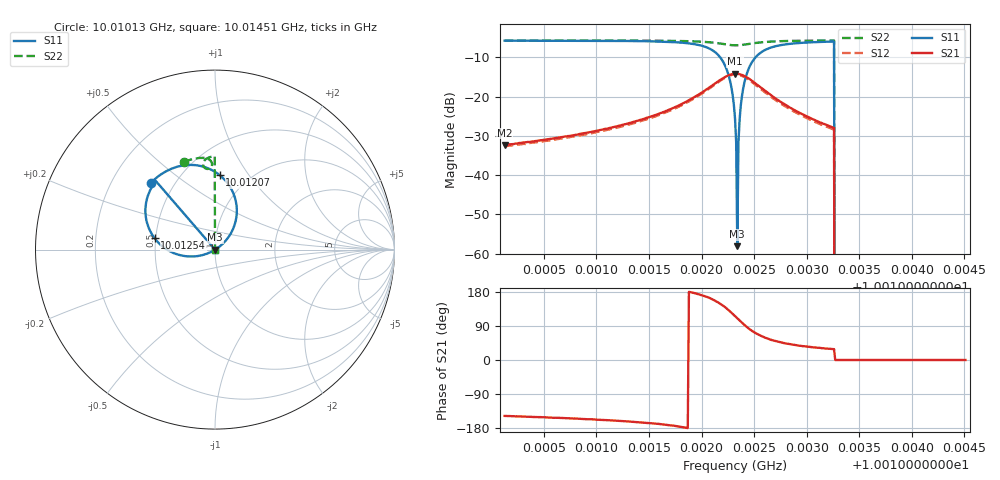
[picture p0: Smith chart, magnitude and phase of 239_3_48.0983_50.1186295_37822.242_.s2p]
#  HZ  S  RI  R  50.00
! Rohde & Schwarz Vector Network Analyzer
! Rohde-Schwarz,ZNB20-2Port,1311601062101988,3.16
! Created: UTC 12/23/2023, 3:58:34 AM
! freq[Hz]  re:S11  im:S11  re:S21  im:S21  re:S12  im:S12  re:S22  im:S22
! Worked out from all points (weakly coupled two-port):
!   401 points, 10.01013 GHz to 10.01451 GHz, reference 50 ohm
!   highest |S21| = -14.15 dB at 10.01232 GHz (marker M1); lowest = -32.3 dB at 10.01013 GHz (marker M2)
!   lowest |S11| = -58.1 dB at 10.01234 GHz (marker M3), VSWR 1.00, Z = 50.1 - j0.0315 ohm
!   |S11| at or under -10 dB: 10.01218 GHz to 10.01251 GHz (334.5 kHz wide, 0.00334 % of centre); 10.01326 GHz to end of sweep
!   |S22| runs from - to -5.7 dB; largest |S21 - S12| = 0.0099
!   S11 on the Smith chart (normalised r, x): 10.01013 GHz: 0.37, +0.37; 10.01207 GHz: 0.74, +0.74; 10.01254 GHz: 0.49, +0.07; 10.01451 GHz: 1.00, +0.00
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1.0010126e10  -0.3593 0.3712  -0.0205 -0.013  -0.019 -0.0135  -0.1743 0.4888
1.0010861e10  -0.3032 0.4174  -0.0308 -0.0141  -0.0288 -0.0149  -0.1265 0.5037
1.0011595e10  -0.1944 0.4656  -0.0595 -0.0118  -0.0566 -0.0144  -0.0712 0.5116
1.0012066e10  0.0267 0.4144  -0.1243 0.0336  -0.1223 0.0261  -0.0235 0.494
1.0012176e10  0.107 0.301  -0.1392 0.0846  -0.1402 0.0749  -0.0164 0.4757
1.0012252e10  0.1151 0.1594  -0.1263 0.1367  -0.1295 0.1285  -0.0218 0.4587
1.0012296e10  0.0761 0.0708  -0.1015 0.1656  -0.1061 0.158  -0.0308 0.4516
1.0012307e10  0.0605 0.0506  -0.0938 0.1714  -0.0979 0.1642  -0.0337 0.4504
1.0012318e10  0.0427 0.0318  -0.0851 0.1767  -0.0896 0.1693  -0.0366 0.4498
1.001234e10  0.0012 -0.000314  -0.0663 0.1841  -0.071 0.1775  -0.0427 0.4492
1.0012351e10  -0.0225 -0.0133  -0.0563 0.1865  -0.0617 0.1797  -0.0458 0.4497
1.0012362e10  -0.0455 -0.0231  -0.047 0.1878  -0.052 0.1812  -0.0488 0.4503
1.0012373e10  -0.0704 -0.0307  -0.0374 0.1881  -0.0424 0.1817  -0.0514 0.4516
1.0012406e10  -0.1429 -0.0383  -0.00981 0.1837  -0.0146 0.1777  -0.0586 0.4565
1.0012461e10  -0.2471 -0.0116  0.0272 0.164  0.0209 0.159  -0.0654 0.4679
1.0012537e10  -0.3362 0.0628  0.0531 0.1287  0.0474 0.1248  -0.0656 0.4836
1.0012713e10  -0.3878 0.2128  0.0606 0.0708  0.0551 0.0696  -0.0505 0.5048
1.0013052e10  -0.3546 0.344  0.0432 0.0289  0.0398 0.0295  -0.0185 0.5178
1.0013239e10  -0.3318 0.3785  0.0357 0.02  0.033 0.0208  -0.0032 0.5201
1.0013294e10  0 0  0 0  0 0  0 0
1.0013787e10  0 0  0 0  0 0  0 0
1.001451e10  0 0  0 0  0 0  0 0
